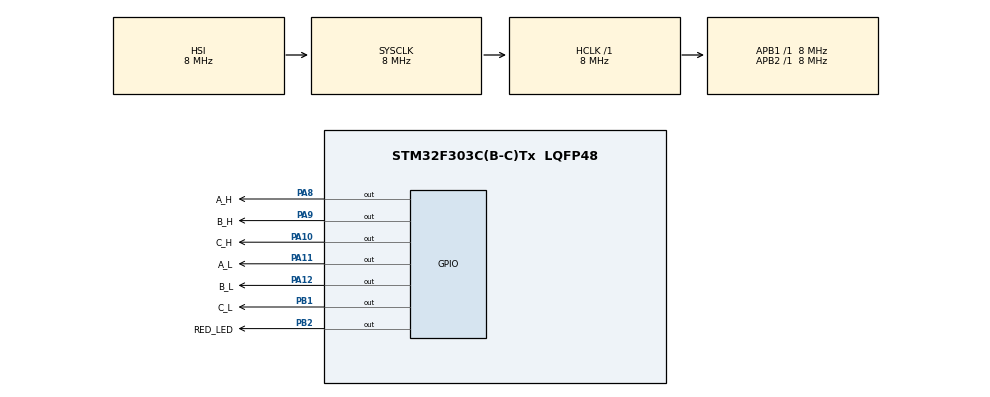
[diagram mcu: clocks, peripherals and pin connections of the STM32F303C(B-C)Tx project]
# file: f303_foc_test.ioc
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Mcu.Family=STM32F3
Mcu.Name=STM32F303C(B-C)Tx
Mcu.Package=LQFP48
NVIC.PriorityGroup=NVIC_PRIORITYGROUP_4
PA10.GPIO_Label=C_H
PA10.Signal=GPIO_Output
PA11.GPIO_Label=A_L
PA11.Signal=GPIO_Output
PA12.GPIO_Label=B_L
PA12.Signal=GPIO_Output
PA13.Mode=Serial_Wire
PA13.Signal=SYS_JTMS-SWDIO
PA14.Mode=Serial_Wire
PA14.Signal=SYS_JTCK-SWCLK
PA8.GPIO_Label=A_H
PA8.Signal=GPIO_Output
PA9.GPIO_Label=B_H
PA9.Signal=GPIO_Output
PB1.GPIO_Label=C_L
PB1.Signal=GPIO_Output
PB2.GPIO_Label=RED_LED
PB2.Signal=GPIO_Output
PF0-OSC_IN.Mode=HSE-External-Oscillator
PF0-OSC_IN.Signal=RCC_OSC_IN
PF1-OSC_OUT.Mode=HSE-External-Oscillator
PF1-OSC_OUT.Signal=RCC_OSC_OUT
ProjectManager.HeapSize=0x200
ProjectManager.StackSize=0x400
ProjectManager.TargetToolchain=STM32CubeIDE
RCC.AHBFreq_Value=8000000
RCC.APB1Freq_Value=8000000
RCC.APB2Freq_Value=8000000
RCC.CortexFreq_Value=8000000
RCC.HSE_VALUE=8000000
RCC.HSI_VALUE=8000000
RCC.LSE_VALUE=32768
RCC.SYSCLKFreq_VALUE=8000000
board=custom

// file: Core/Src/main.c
/* USER CODE BEGIN Header */
/**
 ******************************************************************************
 * @file           : main.c
 * @brief          : Main program body
 ******************************************************************************
 * @attention
 *
 * Copyright (c) 2023 STMicroelectronics.
 * All rights reserved.
 *
 * This software is licensed under terms that can be found in the LICENSE file
 * in the root directory of this software component.
 * If no LICENSE file comes with this software, it is provided AS-IS.
 *
 ******************************************************************************
 */
/* USER CODE END Header */
#include "main.h"

/* USER CODE BEGIN PD */
#define _HIGH_IMPEDANCE 0

/* USER CODE END PD */

/* USER CODE BEGIN PV */
/**
 * https://github.com/simplefoc/Arduino-FOC/blob/master/src/BLDCMotor.cpp
 */
int trap_120_map[6][3] = {
    {_HIGH_IMPEDANCE, 1, -1},
    {-1, 1, _HIGH_IMPEDANCE},
    {-1, _HIGH_IMPEDANCE, 1},
    {_HIGH_IMPEDANCE, -1, 1},
    {1, -1, _HIGH_IMPEDANCE},
    {1, _HIGH_IMPEDANCE, -1}};
/* USER CODE END PV */

void SystemClock_Config(void);
static void MX_GPIO_Init(void);

/* USER CODE BEGIN 0 */
typedef struct hal_gpio_pin
{
  GPIO_TypeDef *port;
  uint16_t pin;
} hal_gpio_pin_t;
typedef struct motor_phase
{
  hal_gpio_pin_t pin_high;
  hal_gpio_pin_t pin_low;
} motor_phase_t;

/**
 * @brief Commutate a motor phase, L6398 style
 */
void commutate_phase(motor_phase_t motor_phase, int state)
{
  switch (state)
  {
  case 1:
    HAL_GPIO_WritePin(motor_phase.pin_high.port, motor_phase.pin_high.pin, GPIO_PIN_SET);
    HAL_GPIO_WritePin(motor_phase.pin_low.port, motor_phase.pin_low.pin, GPIO_PIN_SET);
    break;
  case -1:
    HAL_GPIO_WritePin(motor_phase.pin_high.port, motor_phase.pin_high.pin, GPIO_PIN_RESET);
    HAL_GPIO_WritePin(motor_phase.pin_low.port, motor_phase.pin_low.pin, GPIO_PIN_RESET);
    break;
  case _HIGH_IMPEDANCE:
    HAL_GPIO_WritePin(motor_phase.pin_high.port, motor_phase.pin_high.pin, GPIO_PIN_RESET);
    HAL_GPIO_WritePin(motor_phase.pin_low.port, motor_phase.pin_low.pin, GPIO_PIN_SET);
    break;
  }
}
/* USER CODE END 0 */

int main(void)
{
  /* USER CODE BEGIN 1 */
  motor_phase_t phase_A = {
      .pin_high = {.port = GPIOA, .pin = GPIO_PIN_8},
      .pin_low = {.port = GPIOA, .pin = GPIO_PIN_11}};
  motor_phase_t phase_B = {
      .pin_high = {.port = GPIOA, .pin = GPIO_PIN_9},
      .pin_low = {.port = GPIOA, .pin = GPIO_PIN_12}};
  motor_phase_t phase_C = {
      .pin_high = {.port = GPIOA, .pin = GPIO_PIN_10},
      .pin_low = {.port = GPIOB, .pin = GPIO_PIN_1}};
  /* USER CODE END 1 */

  /* MCU Configuration--------------------------------------------------------*/

  /* Reset of all peripherals, Initializes the Flash interface and the Systick. */
  HAL_Init();

  /* Configure the system clock */
  SystemClock_Config();

  /* Initialize all configured peripherals */
  MX_GPIO_Init();
  /* USER CODE BEGIN 2 */
//  HAL_TIM_PWM_Start(&htim1, TIM_CHANNEL_1);
//  HAL_TIMEx_PWMN_Start(&htim1, TIM_CHANNEL_1);
  /* USER CODE END 2 */

  /* Infinite loop */
  /* USER CODE BEGIN WHILE */
  while (1)
  {
    //    HAL_GPIO_WritePin(RED_LED_GPIO_Port, RED_LED_Pin, 1);
    // __HAL_TIM_SetCompare(&htim1, TIM_CHANNEL_1, 800);
    // HAL_Delay(2000);
    // HAL_GPIO_WritePin(RED_LED_GPIO_Port, RED_LED_Pin, 0);
    // __HAL_TIM_SetCompare(&htim1, TIM_CHANNEL_1, 400);
    // HAL_Delay(2000);
    for (int i = 0; i < 6; i++)
    {
      commutate_phase(phase_A, trap_120_map[i][0]);
      commutate_phase(phase_B, trap_120_map[i][1]);
      commutate_phase(phase_C, trap_120_map[i][2]);
      HAL_Delay(10);
    }

    // HOT 5Amps
    //    commutate_phase(phase_A, 1);
    //    commutate_phase(phase_B, -1);
    //    commutate_phase(phase_C, 0);

    // HOT 5Amps
    //    commutate_phase(phase_A, 0);
    //    commutate_phase(phase_B, 1);
    //    commutate_phase(phase_C, -1);

    // HOT 5Amps
    // commutate_phase(phase_A, 1);
    // commutate_phase(phase_B, 0);
    // commutate_phase(phase_C, -1);

    // MANUAL test
    // HAL_GPIO_WritePin(A_H_GPIO_Port, A_H_Pin, GPIO_PIN_SET);
    // HAL_GPIO_WritePin(A_L_GPIO_Port, A_L_Pin, GPIO_PIN_SET);
    // HAL_Delay(1000);

    // No reaction
    // HAL_GPIO_WritePin(A_H_GPIO_Port, A_H_Pin, GPIO_PIN_RESET);
    // HAL_GPIO_WritePin(A_L_GPIO_Port, A_L_Pin, GPIO_PIN_RESET);

    // HOT 5AMP
    // HAL_GPIO_WritePin(A_H_GPIO_Port, A_H_Pin, GPIO_PIN_RESET);
    // HAL_GPIO_WritePin(A_L_GPIO_Port, A_L_Pin, GPIO_PIN_RESET);
    // HAL_GPIO_WritePin(A_H_GPIO_Port, B_H_Pin, GPIO_PIN_SET);
    // HAL_GPIO_WritePin(A_L_GPIO_Port, B_L_Pin, GPIO_PIN_SET);
    // HAL_Delay(1000);

    // HAL_GPIO_WritePin(A_H_GPIO_Port, A_H_Pin, GPIO_PIN_RESET);
    // HAL_GPIO_WritePin(A_L_GPIO_Port, A_L_Pin, GPIO_PIN_RESET);
    // HAL_Delay(1000);
    // HAL_GPIO_WritePin(A_H_GPIO_Port, A_H_Pin, GPIO_PIN_SET);
    // HAL_GPIO_WritePin(A_L_GPIO_Port, A_L_Pin, GPIO_PIN_SET);
    // HAL_Delay(1000);

    // HAL_GPIO_TogglePin(RED_LED_GPIO_Port, RED_LED_Pin);
    // HAL_Delay(500);
    /* USER CODE END WHILE */

  }
}

void SystemClock_Config(void)
{
  RCC_OscInitTypeDef RCC_OscInitStruct = {0};
  RCC_ClkInitTypeDef RCC_ClkInitStruct = {0};

  /** Initializes the RCC Oscillators according to the specified parameters
  * in the RCC_OscInitTypeDef structure.
  */
  RCC_OscInitStruct.OscillatorType = RCC_OSCILLATORTYPE_HSI;
  RCC_OscInitStruct.HSIState = RCC_HSI_ON;
  RCC_OscInitStruct.HSICalibrationValue = RCC_HSICALIBRATION_DEFAULT;
  RCC_OscInitStruct.PLL.PLLState = RCC_PLL_NONE;
  if (HAL_RCC_OscConfig(&RCC_OscInitStruct) != HAL_OK)
  {
    Error_Handler();
  }

  /** Initializes the CPU, AHB and APB buses clocks
  */
  RCC_ClkInitStruct.ClockType = RCC_CLOCKTYPE_HCLK|RCC_CLOCKTYPE_SYSCLK
                              |RCC_CLOCKTYPE_PCLK1|RCC_CLOCKTYPE_PCLK2;
  RCC_ClkInitStruct.SYSCLKSource = RCC_SYSCLKSOURCE_HSI;
  RCC_ClkInitStruct.AHBCLKDivider = RCC_SYSCLK_DIV1;
  RCC_ClkInitStruct.APB1CLKDivider = RCC_HCLK_DIV1;
  RCC_ClkInitStruct.APB2CLKDivider = RCC_HCLK_DIV1;

  if (HAL_RCC_ClockConfig(&RCC_ClkInitStruct, FLASH_LATENCY_0) != HAL_OK)
  {
    Error_Handler();
  }
}

static void MX_GPIO_Init(void)
{
  GPIO_InitTypeDef GPIO_InitStruct = {0};

  /* GPIO Ports Clock Enable */
  __HAL_RCC_GPIOF_CLK_ENABLE();
  __HAL_RCC_GPIOB_CLK_ENABLE();
  __HAL_RCC_GPIOA_CLK_ENABLE();

  /*Configure GPIO pin Output Level */
  HAL_GPIO_WritePin(GPIOB, C_L_Pin|RED_LED_Pin, GPIO_PIN_RESET);

  /*Configure GPIO pin Output Level */
  HAL_GPIO_WritePin(GPIOA, A_H_Pin|B_H_Pin|C_H_Pin|A_L_Pin
                          |B_L_Pin, GPIO_PIN_RESET);

  /*Configure GPIO pins : C_L_Pin RED_LED_Pin */
  GPIO_InitStruct.Pin = C_L_Pin|RED_LED_Pin;
  GPIO_InitStruct.Mode = GPIO_MODE_OUTPUT_PP;
  GPIO_InitStruct.Pull = GPIO_NOPULL;
  GPIO_InitStruct.Speed = GPIO_SPEED_FREQ_LOW;
  HAL_GPIO_Init(GPIOB, &GPIO_InitStruct);

  /*Configure GPIO pins : A_H_Pin B_H_Pin C_H_Pin A_L_Pin
                           B_L_Pin */
  GPIO_InitStruct.Pin = A_H_Pin|B_H_Pin|C_H_Pin|A_L_Pin
                          |B_L_Pin;
  GPIO_InitStruct.Mode = GPIO_MODE_OUTPUT_PP;
  GPIO_InitStruct.Pull = GPIO_NOPULL;
  GPIO_InitStruct.Speed = GPIO_SPEED_FREQ_LOW;
  HAL_GPIO_Init(GPIOA, &GPIO_InitStruct);

}

void Error_Handler(void)
{
  __disable_irq();
  while (1)
  {
  }
}
